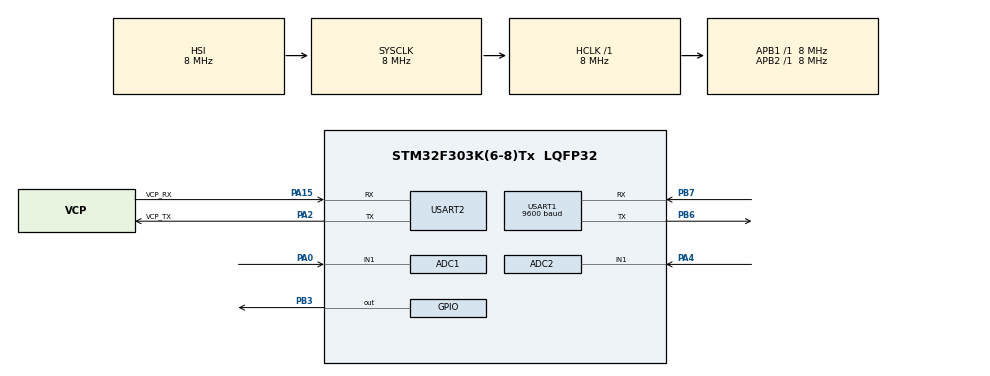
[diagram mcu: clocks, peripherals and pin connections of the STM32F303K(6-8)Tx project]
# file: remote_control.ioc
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ADC1.Channel-1\#ChannelRegularConversion=ADC_CHANNEL_1
ADC1.ContinuousConvMode=ENABLE
ADC1.NbrOfConversionFlag=1
ADC1.Offset-1\#ChannelRegularConversion=0
ADC1.OffsetNumber-1\#ChannelRegularConversion=ADC_OFFSET_NONE
ADC1.Rank-1\#ChannelRegularConversion=1
ADC1.SamplingTime-1\#ChannelRegularConversion=ADC_SAMPLETIME_1CYCLE_5
ADC1.SubFamily=STM32F303x8
ADC1.master=1
ADC2.Channel-6\#ChannelRegularConversion=ADC_CHANNEL_1
ADC2.NbrOfConversionFlag=1
ADC2.Offset-6\#ChannelRegularConversion=0
ADC2.OffsetNumber-6\#ChannelRegularConversion=ADC_OFFSET_NONE
ADC2.Rank-6\#ChannelRegularConversion=1
ADC2.SamplingTime-6\#ChannelRegularConversion=ADC_SAMPLETIME_1CYCLE_5
ADC2.SamplingTimeOPAMP-6\#ChannelRegularConversion=ADC_SAMPLETIME_7CYCLES_5
ADC2.SubFamily=STM32F303x8
Mcu.Family=STM32F3
Mcu.Name=STM32F303K(6-8)Tx
Mcu.Package=LQFP32
NVIC.ADC1_2_IRQn=true\:0\:0\:false\:false\:true\:true\:true\:true
NVIC.PriorityGroup=NVIC_PRIORITYGROUP_4
PA0.Mode=IN1-Single-Ended
PA0.Signal=ADC1_IN1
PA13.GPIO_Label=SWDIO
PA13.Mode=Serial_Wire
PA13.Signal=SYS_JTMS-SWDIO
PA14.GPIO_Label=SWCLK
PA14.Mode=Serial_Wire
PA14.Signal=SYS_JTCK-SWCLK
PA15.GPIO_Label=VCP_RX
PA15.Mode=Asynchronous
PA15.Signal=USART2_RX
PA2.GPIO_Label=VCP_TX
PA2.Mode=Asynchronous
PA2.Signal=USART2_TX
PA4.Mode=IN1-Single-Ended
PA4.Signal=ADC2_IN1
PB3.GPIO_Speed=GPIO_SPEED_FREQ_MEDIUM
PB3.Signal=GPIO_Output
PB6.Mode=Asynchronous
PB6.Signal=USART1_TX
PB7.Mode=Asynchronous
PB7.Signal=USART1_RX
PF0\ /\ OSC_IN.GPIO_Label=MCO
PF0\ /\ OSC_IN.Mode=HSE-External-Clock-Source
PF0\ /\ OSC_IN.Signal=RCC_OSC_IN
ProjectManager.HeapSize=0x200
ProjectManager.StackSize=0x400
ProjectManager.TargetToolchain=STM32CubeIDE
RCC.AHBFreq_Value=8000000
RCC.APB1Freq_Value=8000000
RCC.APB2Freq_Value=8000000
RCC.CortexFreq_Value=8000000
RCC.HSE_VALUE=8000000
RCC.HSI_VALUE=8000000
RCC.PLLMUL=RCC_PLL_MUL4
RCC.SYSCLKFreq_VALUE=8000000
USART1.BaudRate=9600
USART1.VirtualMode-Asynchronous=VM_ASYNC
USART2.VirtualMode-Asynchronous=VM_ASYNC
board=NUCLEO-F303K8

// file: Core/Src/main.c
/* USER CODE BEGIN Header */
/**
  ******************************************************************************
  * @file           : main.c
  * @brief          : Main program body
  ******************************************************************************
  * @attention
  *
  * Copyright (c) 2024 STMicroelectronics.
  * All rights reserved.
  *
  * This software is licensed under terms that can be found in the LICENSE file
  * in the root directory of this software component.
  * If no LICENSE file comes with this software, it is provided AS-IS.
  *
  ******************************************************************************
  */
/* USER CODE END Header */
#include "main.h"

/* USER CODE BEGIN Includes */
#include <stdio.h>
/* USER CODE END Includes */

/* USER CODE BEGIN PD */
#define NUM_READINGS 10
#define DEADZONE 35  // Rango de la zona muerta (para el ruido)
#define CHANGE_THRESHOLD 5  // Umbral mínimo de cambio para transmitir
#define BUTTON_THRESHOLD 2000   // Umbral del botón pulsado
#define BUTTON_DEBOUNCE_COUNT 10 // Número de lecturas para activar/desactivar
/* USER CODE END PD */

ADC_HandleTypeDef hadc1;
ADC_HandleTypeDef hadc2;

UART_HandleTypeDef huart1;
UART_HandleTypeDef huart2;

/* USER CODE BEGIN PV */
uint16_t readingsX[NUM_READINGS];
uint16_t readingsY[NUM_READINGS];
int index = 0;
uint16_t centerX = 2048;  // Valor central de X
uint16_t centerY = 2048;  // Valor central de Y
int lastSentX = 0;  // Último valor enviado del eje X
int lastSentY = 0;  // Último valor enviado del eje Y
int pulseCounter = 0;     // Contador de lecturas consecutivas
int isSending = 1;        // 1: Enviar datos normales, 0: Enviar 0,0
uint32_t blockTime = 0;  // Tiempo de inicio del bloqueo
int isBlocked = 0;       // Estado de bloqueo: 1 = bloqueado, 0 = desbloqueado
/* USER CODE END PV */

void SystemClock_Config(void);
static void MX_GPIO_Init(void);
static void MX_USART2_UART_Init(void);
static void MX_ADC1_Init(void);
static void MX_ADC2_Init(void);
static void MX_USART1_UART_Init(void);

/* USER CODE BEGIN 0 */
int calculate_average(uint16_t readings[], const int size) {
    if (size <= 2) return 0; // Evita errores si el tamaño es insuficiente

    uint16_t min = readings[0];
    uint16_t max = readings[0];
    int sum = readings[0];

    // Recorrer el array una vez
    for (int i = 1; i < size; i++) {
        uint16_t value = readings[i];
        if (value < min) min = value;
        if (value > max) max = value;
        sum += value;
    }

    // Restar el mínimo y el máximo
    sum -= (min + max);

    // Devolver el promedio
    return sum / (size - 2);
}

int apply_deadzone(int value, int center) {
    if (value > center - DEADZONE && value < center + DEADZONE) {
        return center;  // Si está dentro de la zona muerta, ajusta al valor central
    }
    return value;  // Si está fuera, devuelve el valor original
}

void LED_On(void) {
    HAL_GPIO_WritePin(GPIOB, GPIO_PIN_3, GPIO_PIN_SET);  // Encender LED
}

void LED_Off(void) {
    HAL_GPIO_WritePin(GPIOB, GPIO_PIN_3, GPIO_PIN_RESET);  // Apagar LED
}

/* USER CODE END 0 */

int main(void)
{

  /* MCU Configuration--------------------------------------------------------*/

  /* Reset of all peripherals, Initializes the Flash interface and the Systick. */
  HAL_Init();

  /* Configure the system clock */
  SystemClock_Config();

  /* Initialize all configured peripherals */
  MX_GPIO_Init();
  MX_USART2_UART_Init();
  MX_ADC1_Init();
  MX_ADC2_Init();
  MX_USART1_UART_Init();

  /* Infinite loop */
  /* USER CODE BEGIN WHILE */
#define INIT_SAMPLES 100  // Número de muestras para calibrar el centro

// Calibrar el centro del joystick
int tempSumX = 0, tempSumY = 0;
for (int i = 0; i < INIT_SAMPLES; i++) {
    HAL_ADC_Start(&hadc1);
    HAL_ADC_PollForConversion(&hadc1, 1000);
    tempSumX += HAL_ADC_GetValue(&hadc1);

    HAL_ADC_Start(&hadc2);
    HAL_ADC_PollForConversion(&hadc2, 1000);
    tempSumY += HAL_ADC_GetValue(&hadc2);

    HAL_Delay(10);  // Pequeña pausa entre lecturas
}
centerX = tempSumX / INIT_SAMPLES;
centerY = tempSumY / INIT_SAMPLES;

  while (1)
  {
	  // Leer valores del ADC
	      HAL_ADC_Start(&hadc1);
	      HAL_ADC_PollForConversion(&hadc1, 1000);
	      readingsX[index] = HAL_ADC_GetValue(&hadc1);

	      HAL_ADC_Start(&hadc2);
	      HAL_ADC_PollForConversion(&hadc2, 1000);
	      readingsY[index] = HAL_ADC_GetValue(&hadc2);

	      uint16_t currentY = readingsY[index]; // Valor actual de Y

	      // Verificar si el botón está presionado (Y > BUTTON_THRESHOLD)
	      if (currentY > BUTTON_THRESHOLD && !isBlocked) {
	          pulseCounter++;
	          if (pulseCounter >= BUTTON_DEBOUNCE_COUNT) {
	              isSending = !isSending;   // Alternar estado de envío
	              pulseCounter = 0;         // Reiniciar contador
	              if (!isSending) {
	                  isBlocked = 1;        // Bloquear después de desactivar envío
	                  blockTime = HAL_GetTick();  // Guardar tiempo de inicio del bloqueo
	              }
	          }
	      } else {
	          pulseCounter = 0; // Reiniciar si no está por encima del umbral
	      }

	      // Verificar si han pasado 10 segundos para desbloquear
	      if (isBlocked && (HAL_GetTick() - blockTime >= 10000)) {
	          isBlocked = 0; // Desbloquear
	      }

	      // Si estamos enviando datos normales
	      if (isSending) {
	          index++;
	          if (index == NUM_READINGS) {
	              int avgX = calculate_average(readingsX, NUM_READINGS);
	              int avgY = calculate_average(readingsY, NUM_READINGS);

	              // Aplicar zona muerta usando los valores calibrados
	              avgX = apply_deadzone(avgX, centerX);
	              avgY = apply_deadzone(avgY, centerY);

	              // Transmitir solo si hay cambios significativos
	              if (abs(avgX - lastSentX) > CHANGE_THRESHOLD || abs(avgY - lastSentY) > CHANGE_THRESHOLD) {
	            	  LED_On();
	                  char msg[50];
	                  sprintf(msg, "%d/%d\r\n", avgX, avgY);
	                  HAL_UART_Transmit(&huart2, (uint8_t*)msg, strlen(msg), HAL_MAX_DELAY);
	                  HAL_UART_Transmit(&huart1, (uint8_t*)msg, strlen(msg), HAL_MAX_DELAY);

	                  lastSentX = avgX;
	                  lastSentY = avgY;
	                  LED_Off();
	              }
	              index = 0; // Reiniciar índice
	          }
	      } else {
	          // Enviar 0,0 si estamos en modo pausa
	          char msg[10];
	          sprintf(msg, "0/0\r\n");
	          HAL_UART_Transmit(&huart2, (uint8_t*)msg, strlen(msg), HAL_MAX_DELAY);
	          HAL_UART_Transmit(&huart1, (uint8_t*)msg, strlen(msg), HAL_MAX_DELAY);
	      }

	  	HAL_Delay(10); // Ajustar el retraso según sea necesario

    /* USER CODE END WHILE */

  }
}

void SystemClock_Config(void)
{
  RCC_OscInitTypeDef RCC_OscInitStruct = {0};
  RCC_ClkInitTypeDef RCC_ClkInitStruct = {0};
  RCC_PeriphCLKInitTypeDef PeriphClkInit = {0};

  /** Initializes the RCC Oscillators according to the specified parameters
  * in the RCC_OscInitTypeDef structure.
  */
  RCC_OscInitStruct.OscillatorType = RCC_OSCILLATORTYPE_HSI;
  RCC_OscInitStruct.HSIState = RCC_HSI_ON;
  RCC_OscInitStruct.HSICalibrationValue = RCC_HSICALIBRATION_DEFAULT;
  RCC_OscInitStruct.PLL.PLLState = RCC_PLL_ON;
  RCC_OscInitStruct.PLL.PLLSource = RCC_PLLSOURCE_HSI;
  RCC_OscInitStruct.PLL.PLLMUL = RCC_PLL_MUL4;
  if (HAL_RCC_OscConfig(&RCC_OscInitStruct) != HAL_OK)
  {
    Error_Handler();
  }

  /** Initializes the CPU, AHB and APB buses clocks
  */
  RCC_ClkInitStruct.ClockType = RCC_CLOCKTYPE_HCLK|RCC_CLOCKTYPE_SYSCLK
                              |RCC_CLOCKTYPE_PCLK1|RCC_CLOCKTYPE_PCLK2;
  RCC_ClkInitStruct.SYSCLKSource = RCC_SYSCLKSOURCE_HSI;
  RCC_ClkInitStruct.AHBCLKDivider = RCC_SYSCLK_DIV1;
  RCC_ClkInitStruct.APB1CLKDivider = RCC_HCLK_DIV1;
  RCC_ClkInitStruct.APB2CLKDivider = RCC_HCLK_DIV1;

  if (HAL_RCC_ClockConfig(&RCC_ClkInitStruct, FLASH_LATENCY_0) != HAL_OK)
  {
    Error_Handler();
  }
  PeriphClkInit.PeriphClockSelection = RCC_PERIPHCLK_USART1|RCC_PERIPHCLK_ADC12;
  PeriphClkInit.Usart1ClockSelection = RCC_USART1CLKSOURCE_PCLK1;
  PeriphClkInit.Adc12ClockSelection = RCC_ADC12PLLCLK_DIV1;
  if (HAL_RCCEx_PeriphCLKConfig(&PeriphClkInit) != HAL_OK)
  {
    Error_Handler();
  }
}

static void MX_ADC1_Init(void)
{

  ADC_MultiModeTypeDef multimode = {0};
  ADC_ChannelConfTypeDef sConfig = {0};

  /** Common config
  */
  hadc1.Instance = ADC1;
  hadc1.Init.ClockPrescaler = ADC_CLOCK_ASYNC_DIV1;
  hadc1.Init.Resolution = ADC_RESOLUTION_12B;
  hadc1.Init.ScanConvMode = ADC_SCAN_DISABLE;
  hadc1.Init.ContinuousConvMode = ENABLE;
  hadc1.Init.DiscontinuousConvMode = DISABLE;
  hadc1.Init.ExternalTrigConvEdge = ADC_EXTERNALTRIGCONVEDGE_NONE;
  hadc1.Init.ExternalTrigConv = ADC_SOFTWARE_START;
  hadc1.Init.DataAlign = ADC_DATAALIGN_RIGHT;
  hadc1.Init.NbrOfConversion = 1;
  hadc1.Init.DMAContinuousRequests = DISABLE;
  hadc1.Init.EOCSelection = ADC_EOC_SINGLE_CONV;
  hadc1.Init.LowPowerAutoWait = DISABLE;
  hadc1.Init.Overrun = ADC_OVR_DATA_OVERWRITTEN;
  if (HAL_ADC_Init(&hadc1) != HAL_OK)
  {
    Error_Handler();
  }

  /** Configure the ADC multi-mode
  */
  multimode.Mode = ADC_MODE_INDEPENDENT;
  if (HAL_ADCEx_MultiModeConfigChannel(&hadc1, &multimode) != HAL_OK)
  {
    Error_Handler();
  }

  /** Configure Regular Channel
  */
  sConfig.Channel = ADC_CHANNEL_1;
  sConfig.Rank = ADC_REGULAR_RANK_1;
  sConfig.SingleDiff = ADC_SINGLE_ENDED;
  sConfig.SamplingTime = ADC_SAMPLETIME_1CYCLE_5;
  sConfig.OffsetNumber = ADC_OFFSET_NONE;
  sConfig.Offset = 0;
  if (HAL_ADC_ConfigChannel(&hadc1, &sConfig) != HAL_OK)
  {
    Error_Handler();
  }

}

static void MX_ADC2_Init(void)
{

  ADC_ChannelConfTypeDef sConfig = {0};

  /** Common config
  */
  hadc2.Instance = ADC2;
  hadc2.Init.ClockPrescaler = ADC_CLOCK_ASYNC_DIV1;
  hadc2.Init.Resolution = ADC_RESOLUTION_12B;
  hadc2.Init.ScanConvMode = ADC_SCAN_DISABLE;
  hadc2.Init.ContinuousConvMode = DISABLE;
  hadc2.Init.DiscontinuousConvMode = DISABLE;
  hadc2.Init.ExternalTrigConvEdge = ADC_EXTERNALTRIGCONVEDGE_NONE;
  hadc2.Init.ExternalTrigConv = ADC_SOFTWARE_START;
  hadc2.Init.DataAlign = ADC_DATAALIGN_RIGHT;
  hadc2.Init.NbrOfConversion = 1;
  hadc2.Init.DMAContinuousRequests = DISABLE;
  hadc2.Init.EOCSelection = ADC_EOC_SINGLE_CONV;
  hadc2.Init.LowPowerAutoWait = DISABLE;
  hadc2.Init.Overrun = ADC_OVR_DATA_OVERWRITTEN;
  if (HAL_ADC_Init(&hadc2) != HAL_OK)
  {
    Error_Handler();
  }

  /** Configure Regular Channel
  */
  sConfig.Channel = ADC_CHANNEL_1;
  sConfig.Rank = ADC_REGULAR_RANK_1;
  sConfig.SingleDiff = ADC_SINGLE_ENDED;
  sConfig.SamplingTime = ADC_SAMPLETIME_1CYCLE_5;
  sConfig.OffsetNumber = ADC_OFFSET_NONE;
  sConfig.Offset = 0;
  if (HAL_ADC_ConfigChannel(&hadc2, &sConfig) != HAL_OK)
  {
    Error_Handler();
  }

}

static void MX_USART1_UART_Init(void)
{

  huart1.Instance = USART1;
  huart1.Init.BaudRate = 9600;
  huart1.Init.WordLength = UART_WORDLENGTH_8B;
  huart1.Init.StopBits = UART_STOPBITS_1;
  huart1.Init.Parity = UART_PARITY_NONE;
  huart1.Init.Mode = UART_MODE_TX_RX;
  huart1.Init.HwFlowCtl = UART_HWCONTROL_NONE;
  huart1.Init.OverSampling = UART_OVERSAMPLING_16;
  huart1.Init.OneBitSampling = UART_ONE_BIT_SAMPLE_DISABLE;
  huart1.AdvancedInit.AdvFeatureInit = UART_ADVFEATURE_NO_INIT;
  if (HAL_UART_Init(&huart1) != HAL_OK)
  {
    Error_Handler();
  }

}

static void MX_USART2_UART_Init(void)
{

  huart2.Instance = USART2;
  huart2.Init.BaudRate = 38400;
  huart2.Init.WordLength = UART_WORDLENGTH_8B;
  huart2.Init.StopBits = UART_STOPBITS_1;
  huart2.Init.Parity = UART_PARITY_NONE;
  huart2.Init.Mode = UART_MODE_TX_RX;
  huart2.Init.HwFlowCtl = UART_HWCONTROL_NONE;
  huart2.Init.OverSampling = UART_OVERSAMPLING_16;
  huart2.Init.OneBitSampling = UART_ONE_BIT_SAMPLE_DISABLE;
  huart2.AdvancedInit.AdvFeatureInit = UART_ADVFEATURE_NO_INIT;
  if (HAL_UART_Init(&huart2) != HAL_OK)
  {
    Error_Handler();
  }

}

static void MX_GPIO_Init(void)
{
  GPIO_InitTypeDef GPIO_InitStruct = {0};

  /* GPIO Ports Clock Enable */
  __HAL_RCC_GPIOF_CLK_ENABLE();
  __HAL_RCC_GPIOA_CLK_ENABLE();
  __HAL_RCC_GPIOB_CLK_ENABLE();

  /*Configure GPIO pin Output Level */
  HAL_GPIO_WritePin(GPIOB, GPIO_PIN_3, GPIO_PIN_RESET);

  /*Configure GPIO pin : PB3 */
  GPIO_InitStruct.Pin = GPIO_PIN_3;
  GPIO_InitStruct.Mode = GPIO_MODE_OUTPUT_PP;
  GPIO_InitStruct.Pull = GPIO_NOPULL;
  GPIO_InitStruct.Speed = GPIO_SPEED_FREQ_MEDIUM;
  HAL_GPIO_Init(GPIOB, &GPIO_InitStruct);

}

void Error_Handler(void)
{
  __disable_irq();
  while (1)
  {
  }
}
